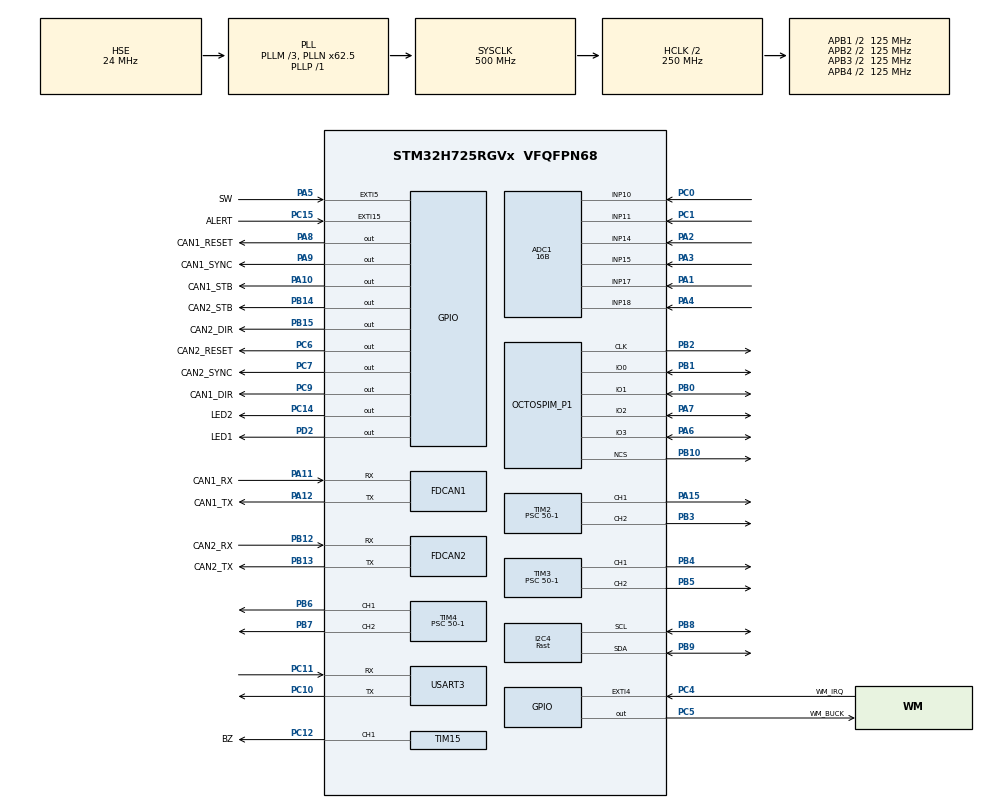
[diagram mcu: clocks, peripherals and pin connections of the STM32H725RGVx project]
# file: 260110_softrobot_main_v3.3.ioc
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ADC1.Channel-1\#ChannelRegularConversion=ADC_CHANNEL_10
ADC1.Channel-2\#ChannelRegularConversion=ADC_CHANNEL_11
ADC1.Channel-3\#ChannelRegularConversion=ADC_CHANNEL_17
ADC1.Channel-4\#ChannelRegularConversion=ADC_CHANNEL_14
ADC1.Channel-5\#ChannelRegularConversion=ADC_CHANNEL_15
ADC1.Channel-6\#ChannelRegularConversion=ADC_CHANNEL_18
ADC1.ClockPrescaler=ADC_CLOCK_ASYNC_DIV16
ADC1.ConversionDataManagement=ADC_CONVERSIONDATA_DMA_CIRCULAR
ADC1.EOCSelection=ADC_EOC_SEQ_CONV
ADC1.ExternalTrigConv=ADC_EXTERNALTRIG_T8_TRGO
ADC1.NbrOfConversion=6
ADC1.NbrOfConversionFlag=1
ADC1.OffsetNumber-1\#ChannelRegularConversion=ADC_OFFSET_NONE
ADC1.OffsetNumber-2\#ChannelRegularConversion=ADC_OFFSET_NONE
ADC1.OffsetNumber-3\#ChannelRegularConversion=ADC_OFFSET_NONE
ADC1.OffsetNumber-4\#ChannelRegularConversion=ADC_OFFSET_NONE
ADC1.OffsetNumber-5\#ChannelRegularConversion=ADC_OFFSET_NONE
ADC1.OffsetNumber-6\#ChannelRegularConversion=ADC_OFFSET_NONE
ADC1.OffsetSignedSaturation-1\#ChannelRegularConversion=DISABLE
ADC1.OffsetSignedSaturation-2\#ChannelRegularConversion=DISABLE
ADC1.OffsetSignedSaturation-3\#ChannelRegularConversion=DISABLE
ADC1.OffsetSignedSaturation-4\#ChannelRegularConversion=DISABLE
ADC1.OffsetSignedSaturation-5\#ChannelRegularConversion=DISABLE
ADC1.OffsetSignedSaturation-6\#ChannelRegularConversion=DISABLE
ADC1.OversamplingMode=ENABLE
ADC1.Rank-1\#ChannelRegularConversion=1
ADC1.Rank-2\#ChannelRegularConversion=2
ADC1.Rank-3\#ChannelRegularConversion=3
ADC1.Rank-4\#ChannelRegularConversion=4
ADC1.Rank-5\#ChannelRegularConversion=5
ADC1.Rank-6\#ChannelRegularConversion=6
ADC1.Ratio=16
ADC1.Resolution=ADC_RESOLUTION_16B
ADC1.RightBitShift=ADC_RIGHTBITSHIFT_4
ADC1.SamplingTime-1\#ChannelRegularConversion=ADC_SAMPLETIME_64CYCLES_5
ADC1.SamplingTime-2\#ChannelRegularConversion=ADC_SAMPLETIME_64CYCLES_5
ADC1.SamplingTime-3\#ChannelRegularConversion=ADC_SAMPLETIME_64CYCLES_5
ADC1.SamplingTime-4\#ChannelRegularConversion=ADC_SAMPLETIME_64CYCLES_5
ADC1.SamplingTime-5\#ChannelRegularConversion=ADC_SAMPLETIME_64CYCLES_5
ADC1.SamplingTime-6\#ChannelRegularConversion=ADC_SAMPLETIME_64CYCLES_5
ADC1.master=1
CORTEX_M7.default_mode_Activation=1
Dma.ADC1.0.Direction=DMA_PERIPH_TO_MEMORY
Dma.ADC1.0.EventEnable=DISABLE
Dma.ADC1.0.FIFOMode=DMA_FIFOMODE_DISABLE
Dma.ADC1.0.Instance=DMA1_Stream0
Dma.ADC1.0.MemDataAlignment=DMA_MDATAALIGN_HALFWORD
Dma.ADC1.0.MemInc=DMA_MINC_ENABLE
Dma.ADC1.0.Mode=DMA_CIRCULAR
Dma.ADC1.0.PeriphDataAlignment=DMA_PDATAALIGN_HALFWORD
Dma.ADC1.0.PeriphInc=DMA_PINC_DISABLE
Dma.ADC1.0.Polarity=HAL_DMAMUX_REQ_GEN_RISING
Dma.ADC1.0.Priority=DMA_PRIORITY_LOW
Dma.ADC1.0.RequestNumber=1
Dma.ADC1.0.SignalID=NONE
Dma.ADC1.0.SyncEnable=DISABLE
Dma.ADC1.0.SyncPolarity=HAL_DMAMUX_SYNC_NO_EVENT
Dma.ADC1.0.SyncRequestNumber=1
Dma.ADC1.0.SyncSignalID=NONE
Dma.Request0=ADC1
Dma.Request1=USART3_TX
Dma.USART3_TX.1.Direction=DMA_MEMORY_TO_PERIPH
Dma.USART3_TX.1.EventEnable=DISABLE
Dma.USART3_TX.1.FIFOMode=DMA_FIFOMODE_DISABLE
Dma.USART3_TX.1.Instance=DMA1_Stream3
Dma.USART3_TX.1.MemDataAlignment=DMA_MDATAALIGN_BYTE
Dma.USART3_TX.1.MemInc=DMA_MINC_ENABLE
Dma.USART3_TX.1.Mode=DMA_NORMAL
Dma.USART3_TX.1.PeriphDataAlignment=DMA_PDATAALIGN_BYTE
Dma.USART3_TX.1.PeriphInc=DMA_PINC_DISABLE
Dma.USART3_TX.1.Polarity=HAL_DMAMUX_REQ_GEN_RISING
Dma.USART3_TX.1.Priority=DMA_PRIORITY_MEDIUM
Dma.USART3_TX.1.RequestNumber=1
Dma.USART3_TX.1.SignalID=NONE
Dma.USART3_TX.1.SyncEnable=DISABLE
Dma.USART3_TX.1.SyncPolarity=HAL_DMAMUX_SYNC_NO_EVENT
Dma.USART3_TX.1.SyncRequestNumber=1
Dma.USART3_TX.1.SyncSignalID=NONE
FDCAN1.CalculateBaudRateNominal=1000000
FDCAN1.CalculateTimeBitNominal=1000
FDCAN1.CalculateTimeQuantumNominal=40.0
FDCAN1.DataPrescaler=5
FDCAN1.DataSyncJumpWidth=3
FDCAN1.DataTimeSeg1=21
FDCAN1.DataTimeSeg2=3
FDCAN1.FrameFormat=FDCAN_FRAME_FD_NO_BRS
FDCAN1.NominalPrescaler=5
FDCAN1.NominalSyncJumpWidth=3
FDCAN1.NominalTimeSeg1=21
FDCAN1.NominalTimeSeg2=3
FDCAN1.RxFifo0ElmtsNbr=16
FDCAN1.StdFiltersNbr=1
FDCAN1.TxBuffersNbr=0
FDCAN1.TxFifoQueueElmtsNbr=32
FDCAN2.CalculateBaudRateNominal=1000000
FDCAN2.CalculateTimeBitNominal=1000
FDCAN2.CalculateTimeQuantumNominal=40.0
FDCAN2.DataPrescaler=5
FDCAN2.DataSyncJumpWidth=3
FDCAN2.DataTimeSeg1=21
FDCAN2.DataTimeSeg2=3
FDCAN2.FrameFormat=FDCAN_FRAME_CLASSIC
FDCAN2.MessageRAMOffset=1024
FDCAN2.NominalPrescaler=5
FDCAN2.NominalSyncJumpWidth=3
FDCAN2.NominalTimeSeg1=21
FDCAN2.NominalTimeSeg2=3
FDCAN2.RxFifo0ElmtsNbr=16
FDCAN2.StdFiltersNbr=1
FDCAN2.TxFifoQueueElmtsNbr=32
FREERTOS.BinarySemaphores01=adcDataReadySem,Dynamic,NULL,Depleted;uartTxCompleteSem,Dynamic,NULL,Available
FREERTOS.Mutexes01=sensorDataMutex,Dynamic,NULL,Available;smaChannelMutex,Dynamic,NULL,Available;uartTxMutex,Dynamic,NULL,Available;i2cMutex,Dynamic,NULL,Available
FREERTOS.Queues01=uartRxQueue,512,1,1,Dynamic,NULL,NULL;cmdQueue,16,128,1,Dynamic,NULL,NULL
FREERTOS.Tasks01=CommandTask,24,512,StartCommandTask,As weak,NULL,Dynamic,NULL,NULL;ControlTask,48,1024,StartControlTask,As weak,NULL,Dynamic,NULL,NULL;TelemetryTask,27,512,StartTelemetryTask,As weak,NULL,Dynamic,NULL,NULL;NRF70_Task,25,256,NRF70_TestTask,Default,NULL,Dynamic,NULL,NULL;SensorPrcsTask,40,512,StartSensorProcessTask,As weak,NULL,Dynamic,NULL,NULL
FREERTOS.configCHECK_FOR_STACK_OVERFLOW=2
FREERTOS.configENABLE_FPU=1
FREERTOS.configMINIMAL_STACK_SIZE=256
FREERTOS.configRECORD_STACK_HIGH_ADDRESS=1
FREERTOS.configTOTAL_HEAP_SIZE=65536
FREERTOS.configUSE_MALLOC_FAILED_HOOK=0
FREERTOS.configUSE_NEWLIB_REENTRANT=1
I2C4.I2C_Speed_Mode=I2C_Fast
I2C4.Speed=100
I2C4.Timing=0x80100780
Mcu.Family=STM32H7
Mcu.Name=STM32H725RGVx
Mcu.Package=VFQFPN68
NVIC.DMA1_Stream0_IRQn=true\:6\:0\:true\:false\:true\:true\:false\:true\:true
NVIC.DMA1_Stream3_IRQn=true\:5\:0\:false\:false\:true\:false\:false\:true\:true
NVIC.EXTI4_IRQn=true\:5\:0\:false\:false\:true\:true\:true\:true\:true
NVIC.FDCAN1_IT0_IRQn=true\:6\:0\:true\:false\:true\:true\:true\:true\:true
NVIC.FDCAN2_IT0_IRQn=true\:6\:0\:true\:false\:true\:true\:true\:true\:true
NVIC.OCTOSPI1_IRQn=true\:5\:0\:false\:false\:true\:true\:true\:true\:true
NVIC.PriorityGroup=NVIC_PRIORITYGROUP_4
NVIC.TIM6_DAC_IRQn=true\:15\:0\:false\:false\:true\:false\:false\:true\:true
NVIC.TIM8_UP_TIM13_IRQn=true\:5\:0\:true\:false\:true\:true\:true\:true\:true
NVIC.TimeBase=TIM6_DAC_IRQn
NVIC.TimeBaseIP=TIM6
NVIC.USART3_IRQn=true\:7\:0\:true\:false\:true\:true\:true\:true\:true
PA1.Mode=IN17-Single-Ended
PA1.Signal=ADC1_INP17
PA10.GPIO_Label=CAN1_STB
PA10.PinState=GPIO_PIN_SET
PA10.Signal=GPIO_Output
PA11.GPIO_Label=CAN1_RX
PA11.Mode=FDCAN_Activate
PA11.Signal=FDCAN1_RX
PA12.GPIO_Label=CAN1_TX
PA12.Mode=FDCAN_Activate
PA12.Signal=FDCAN1_TX
PA13(JTMS/SWDIO).Mode=Serial_Wire
PA13(JTMS/SWDIO).Signal=DEBUG_JTMS-SWDIO
PA14(JTCK/SWCLK).Mode=Serial_Wire
PA14(JTCK/SWCLK).Signal=DEBUG_JTCK-SWCLK
PA15(JTDI).Signal=S_TIM2_CH1_ETR
PA2.Signal=ADCx_INP14
PA3.Signal=ADCx_INP15
PA4.Signal=ADCx_INP18
PA5.GPIO_Label=SW
PA5.Signal=GPXTI5
PA6.Mode=OCTOSPI1_IOL_Port1L
PA6.Signal=OCTOSPIM_P1_IO3
PA7.Mode=OCTOSPI1_IOL_Port1L
PA7.Signal=OCTOSPIM_P1_IO2
PA8.GPIO_Label=CAN1_RESET
PA8.PinState=GPIO_PIN_SET
PA8.Signal=GPIO_Output
PA9.GPIO_Label=CAN1_SYNC
PA9.PinState=GPIO_PIN_SET
PA9.Signal=GPIO_Output
PB0.Mode=OCTOSPI1_IOL_Port1L
PB0.Signal=OCTOSPIM_P1_IO1
PB1.Mode=OCTOSPI1_IOL_Port1L
PB1.Signal=OCTOSPIM_P1_IO0
PB10.Mode=OCTOSPI1_Port1_NCS
PB10.Signal=OCTOSPIM_P1_NCS
PB12.GPIO_Label=CAN2_RX
PB12.Mode=FDCAN_Activate
PB12.Signal=FDCAN2_RX
PB13.GPIO_Label=CAN2_TX
PB13.Mode=FDCAN_Activate
PB13.Signal=FDCAN2_TX
PB14.GPIO_Label=CAN2_STB
PB14.PinState=GPIO_PIN_SET
PB14.Signal=GPIO_Output
PB15.GPIO_Label=CAN2_DIR
PB15.PinState=GPIO_PIN_SET
PB15.Signal=GPIO_Output
PB2.Mode=O1_P1_CLK
PB2.Signal=OCTOSPIM_P1_CLK
PB3(JTDO/TRACESWO).Signal=S_TIM2_CH2
PB4(NJTRST).Signal=S_TIM3_CH1
PB5.Signal=S_TIM3_CH2
PB6.Signal=S_TIM4_CH1
PB7.Signal=S_TIM4_CH2
PB8.Mode=I2C
PB8.Signal=I2C4_SCL
PB9.Mode=I2C
PB9.Signal=I2C4_SDA
PC0.Signal=ADCx_INP10
PC1.Signal=ADCx_INP11
PC10.Mode=Asynchronous
PC10.Signal=USART3_TX
PC11.Mode=Asynchronous
PC11.Signal=USART3_RX
PC12.GPIO_Label=BZ
PC12.Signal=S_TIM15_CH1
PC14-OSC32_IN.GPIO_Label=LED2
PC14-OSC32_IN.PinState=GPIO_PIN_SET
PC14-OSC32_IN.Signal=GPIO_Output
PC15-OSC32_OUT.GPIO_Label=ALERT
PC15-OSC32_OUT.GPIO_ModeDefaultEXTI=GPIO_MODE_IT_FALLING
PC15-OSC32_OUT.Signal=GPXTI15
PC4.GPIO_Label=WM_IRQ
PC4.GPIO_ModeDefaultEXTI=GPIO_MODE_IT_RISING
PC4.Signal=GPXTI4
PC5.GPIO_Label=WM_BUCK
PC5.Signal=GPIO_Output
PC6.GPIO_Label=CAN2_RESET
PC6.PinState=GPIO_PIN_SET
PC6.Signal=GPIO_Output
PC7.GPIO_Label=CAN2_SYNC
PC7.PinState=GPIO_PIN_SET
PC7.Signal=GPIO_Output
PC9.GPIO_Label=CAN1_DIR
PC9.PinState=GPIO_PIN_SET
PC9.Signal=GPIO_Output
PD2.GPIO_Label=LED1
PD2.PinState=GPIO_PIN_SET
PD2.Signal=GPIO_Output
PH0-OSC_IN.Mode=HSE-External-Oscillator
PH0-OSC_IN.Signal=RCC_OSC_IN
PH1-OSC_OUT.Mode=HSE-External-Oscillator
PH1-OSC_OUT.Signal=RCC_OSC_OUT
ProjectManager.HeapSize=0x200
ProjectManager.StackSize=0x400
ProjectManager.TargetToolchain=STM32CubeIDE
RCC.ADCFreq_Value=96000000
RCC.APB1Freq_Value=125000000
RCC.APB2Freq_Value=125000000
RCC.APB3Freq_Value=125000000
RCC.APB4Freq_Value=125000000
RCC.CortexFreq_Value=500000000
RCC.D1PPRE=RCC_APB3_DIV2
RCC.D2PPRE1=RCC_APB1_DIV2
RCC.D2PPRE2=RCC_APB2_DIV2
RCC.D3PPRE=RCC_APB4_DIV2
RCC.DIVM1=3
RCC.DIVM2=2
RCC.DIVN1=62
RCC.DIVN2=16
RCC.DIVP1=1
RCC.DIVQ1=4
RCC.HCLKFreq_Value=250000000
RCC.HPRE=RCC_HCLK_DIV2
RCC.HSE_VALUE=24000000
RCC.PLL1_VCI_Range-AdvancedSettings=RCC_PLL1VCIRANGE_3
RCC.PLL1_VCO_SEL-AdvancedSettings=RCC_PLL1VCOWIDE
RCC.PLL2FRACN=0
RCC.PLL3FRACN=0
RCC.PLLFRACN=4096
RCC.PLLSourceVirtual=RCC_PLLSOURCE_HSE
RCC.SYSCLKFreq_VALUE=500000000
RCC.SYSCLKSource=RCC_SYSCLKSOURCE_PLLCLK
RCC.USBFreq_Value=125000000
SH.ADCx_INP10.0=ADC1_INP10,IN10-Single-Ended
SH.ADCx_INP11.0=ADC1_INP11,IN11-Single-Ended
SH.ADCx_INP14.0=ADC1_INP14,IN14-Single-Ended
SH.ADCx_INP15.0=ADC1_INP15,IN15-Single-Ended
SH.ADCx_INP18.0=ADC1_INP18,IN18-Single-Ended
SH.S_TIM15_CH1.0=TIM15_CH1,PWM Generation1 CH1
SH.S_TIM2_CH1_ETR.0=TIM2_CH1,PWM Generation1 CH1
SH.S_TIM2_CH2.0=TIM2_CH2,PWM Generation2 CH2
SH.S_TIM3_CH1.0=TIM3_CH1,PWM Generation1 CH1
SH.S_TIM3_CH2.0=TIM3_CH2,PWM Generation2 CH2
SH.S_TIM4_CH1.0=TIM4_CH1,PWM Generation1 CH1
SH.S_TIM4_CH2.0=TIM4_CH2,PWM Generation2 CH2
TIM15.Channel-PWM\ Generation1\ CH1=TIM_CHANNEL_1
TIM15.Period=1000-1
TIM15.Prescaler=500-1
TIM2.Channel-PWM\ Generation1\ CH1=TIM_CHANNEL_1
TIM2.Channel-PWM\ Generation2\ CH2=TIM_CHANNEL_2
TIM2.Period=100-1
TIM2.Prescaler=50-1
TIM3.Channel-PWM\ Generation1\ CH1=TIM_CHANNEL_1
TIM3.Channel-PWM\ Generation2\ CH2=TIM_CHANNEL_2
TIM3.Period=100-1
TIM3.Prescaler=50-1
TIM4.Channel-PWM\ Generation1\ CH1=TIM_CHANNEL_1
TIM4.Channel-PWM\ Generation2\ CH2=TIM_CHANNEL_2
TIM4.Period=100-1
TIM4.Prescaler=50-1
TIM5.Period=4000-1
TIM5.Prescaler=500-1
TIM8.AutoReloadPreload=TIM_AUTORELOAD_PRELOAD_ENABLE
TIM8.Period=10000-1
TIM8.Prescaler=250-1
TIM8.TIM_MasterOutputTrigger=TIM_TRGO_UPDATE
USART3.VirtualMode-Asynchronous=VM_ASYNC
VP_FREERTOS_VS_CMSIS_V2.Mode=CMSIS_V2
VP_MEMORYMAP_VS_MEMORYMAP.Mode=CurAppReg
VP_OCTOSPI1_VS_quad.Mode=quad_mode
VP_SYS_VS_tim6.Mode=TIM6
VP_TIM15_VS_ClockSourceINT.Mode=Internal
VP_TIM2_VS_ClockSourceINT.Mode=Internal
VP_TIM3_VS_ClockSourceINT.Mode=Internal
VP_TIM4_VS_ClockSourceINT.Mode=Internal
VP_TIM5_VS_ClockSourceINT.Mode=Internal
VP_TIM8_VS_ClockSourceINT.Mode=Internal
board=custom

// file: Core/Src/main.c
/* USER CODE BEGIN Header */
/**
  ******************************************************************************
  * @file           : main.c
  * @brief          : Main program body
  ******************************************************************************
  * @attention
  *
  * Copyright (c) 2025 STMicroelectronics.
  * All rights reserved.
  *
  * This software is licensed under terms that can be found in the LICENSE file
  * in the root directory of this software component.
  * If no LICENSE file comes with this software, it is provided AS-IS.
  *
  ******************************************************************************
  */
/* USER CODE END Header */
#include "main.h"
#include "cmsis_os.h"
#include "adc.h"
#include "dma.h"
#include "fdcan.h"
#include "i2c.h"
#include "octospi.h"
#include "tim.h"
#include "usart.h"
#include "gpio.h"

/* USER CODE BEGIN Includes */
#include <stdio.h>
#include <string.h>

#include "common_defs.h"
#include "debug.h"
#include "fdcan.h"
#include "emc2303.h"
#include "sensors.h"
#include "sma_actuator.h"
#include "comm_protocol.h"
#include "nrf7002_test.h"

/* USER CODE END Includes */

/* USER CODE BEGIN PV */
extern char log_msg[MAX_LOG_MSG_LEN];
System_typedef system;
__attribute__((section(".RAM_D2"))) __attribute__((aligned(4)))
volatile uint16_t buf_adc1[CTRL_CH] = {0};

// UART 수신 버퍼 (단일 바이트 수신용)
static uint8_t uart_rx_byte;

/* USER CODE END PV */

void SystemClock_Config(void);
static void MPU_Config(void);
void MX_FREERTOS_Init(void);
/* USER CODE BEGIN PFP */
extern void RTOS_UART_RxCallback(uint8_t byte);
extern void RTOS_ADC_ConvCpltCallback(void);
extern void RTOS_FDCAN_RxCallback(FDCAN_RxHeaderTypeDef *rx_header, uint8_t *rx_data);
/* USER CODE END PFP */

/* USER CODE BEGIN 0 */
void HAL_FDCAN_RxFifo0Callback(FDCAN_HandleTypeDef *hfdcan, uint32_t RxFifo0ITs)
{
	if((RxFifo0ITs & FDCAN_IT_RX_FIFO0_NEW_MESSAGE) == RESET)
    {
        return;
    }

    /* FIFO의 모든 메시지 처리 (오버런 방지) */
	FDCAN_RxHeaderTypeDef rx_header;
	uint8_t rx_data[8];
	uint8_t msg_count = 0;
	const uint8_t MAX_MSGS_PER_ISR = 8;  // ISR당 최대 처리 개수

    while (msg_count < MAX_MSGS_PER_ISR)
    {
        // FIFO에서 메시지 가져오기
        if (HAL_FDCAN_GetRxMessage(hfdcan, FDCAN_RX_FIFO0, &rx_header, rx_data) != HAL_OK)
        {
            break;  // FIFO 비었거나 에러 → 루프 탈출
        }

        // 센서 데이터 업데이트
        RTOS_FDCAN_RxCallback(&rx_header, rx_data);
        msg_count++;
    }

    // 처리된 메시지가 있으면 LED 토글 (디버그용)
    if (msg_count > 0) {
        LED2_toggle;
    }
}

void HAL_ADC_ConvCpltCallback(ADC_HandleTypeDef *hadc)
{
    if (hadc->Instance == ADC1)
	{
		//LED1_toggle;
		//Sensor_UpdateADC(buf_adc1);
		RTOS_ADC_ConvCpltCallback();
    }
}

void HAL_UART_RxCpltCallback(UART_HandleTypeDef *huart)
{
    if (huart->Instance == USART3) {

    	RTOS_UART_RxCallback(uart_rx_byte);
        // DEBUG: Toggle LED2 to show RX interrupt is firing
        //LED2_toggle;

        // 수신된 바이트를 통신 프로토콜로 전달
        //Comm_RxByteCallback(uart_rx_byte);

        // 다음 바이트 수신 준비 - CRITICAL for continuous reception
        HAL_StatusTypeDef status = HAL_UART_Receive_IT(&huart3, &uart_rx_byte, 1);
        if (status != HAL_OK) {
            // If re-arming fails, force UART state reset and retry
            huart3.RxState = HAL_UART_STATE_READY;
            HAL_UART_Receive_IT(&huart3, &uart_rx_byte, 1);
        }
    }
}

/**
 * @brief UART DMA 전송 완료 콜백
 * @note DMA 전송 완료 시 자동 호출
 */
void HAL_UART_TxCpltCallback(UART_HandleTypeDef *huart)
{
    if (huart->Instance == USART3) {
        // 통신 프로토콜에 전송 완료 알림
        Comm_UART_TxCpltCallback();
    }
}

/* USER CODE END 0 */

int main(void)
{

  /* MPU Configuration--------------------------------------------------------*/
  MPU_Config();

  /* MCU Configuration--------------------------------------------------------*/

  /* Reset of all peripherals, Initializes the Flash interface and the Systick. */
  HAL_Init();

  /* Configure the system clock */
  SystemClock_Config();

  /* Initialize all configured peripherals */
  MX_GPIO_Init();
  MX_DMA_Init();
  MX_ADC1_Init();
  MX_FDCAN1_Init();
  MX_FDCAN2_Init();
  MX_I2C4_Init();
  MX_TIM2_Init();
  MX_TIM3_Init();
  MX_TIM4_Init();
  MX_TIM15_Init();
  MX_USART3_UART_Init();
  MX_TIM5_Init();
  MX_TIM8_Init();
  MX_OCTOSPI1_Init();
  /* USER CODE BEGIN 2 */

  // nRF7002 (WM02C) 통신 테스트
  printf("\r\n\r\n*** Starting nRF7002 Communication Test ***\r\n");

  // 테스트 드라이버 초기화
  if (NRF70_Test_Init(&hospi1) != HAL_OK) {
      printf("ERROR: NRF70_Test_Init failed!\r\n");
  } else {
      // 풀 테스트 실행
      NRF70_TestResult_t test_result;
      bool all_passed = NRF70_RunFullTest(&test_result);

      // 결과 출력
      NRF70_PrintTestResult(&test_result);

      if (all_passed) {
          printf("\r\n*** nRF7002 Ready for Wi-Fi Driver Porting! ***\r\n");
      } else {
          printf("\r\n*** Check hardware connections ***\r\n");
      }
  }

  printf("\r\n");

  setbuf(stdin, NULL);
  RegisterErrorCallback(MyErrorCallback);
//RegisterErrorCallback(MyErrorCallback_Msg);
//RegisterErrorCallback(MyErrorCallback_Code_Msg);
  LogFifo_Init();
  DWT_Init();

  Sensor_Init();

  GPIO_WRITE_0(CAN2_STB_GPIO_Port, CAN2_STB_Pin);
  FDCAN_Init();
  HAL_Delay(200);

  HAL_ADCEx_LinearCalibration_FactorLoad(&hadc1);
  HAL_ADCEx_Calibration_Start(&hadc1, ADC_CALIB_OFFSET, ADC_SINGLE_ENDED);
  HAL_Delay(10);
  HAL_ADC_Start_DMA(&hadc1, (uint32_t *)buf_adc1, 6);

  uint32_t target_hz = 100u;
  emc_profile_t profile = EMC_PROFILE_POWER_GATING;
//emc_profile_t profile = EMC_PROFILE_4WIRE_FAN;
  Fans6_Init(profile, target_hz);
//Fan6_SetDuty(1u, 10.0f);

//HAL_TIM_Base_Start(&htim8);
  HAL_TIM_Base_Start_IT(&htim8);

  // SMA 액추에이터 컨트롤러 초기화 (제어 주기: 10ms)
  SMA_Init(10);

  // USART 통신 프로토콜 초기화
  Comm_Init(&huart3);

  // UART 수신 인터럽트 시작 (명령 수신용)
  HAL_UART_Receive_IT(&huart3, &uart_rx_byte, 1);

  system.state_level = SYSTEM_GO;
  LED1_on;

  // Send startup message via UART (proves TX works)
  const char *startup_msg = "\r\n=== SYSTEM READY - Commands enabled ===\r\n";
  HAL_UART_Transmit(&huart3, (uint8_t*)startup_msg, strlen(startup_msg), 100);

  //printf("System initialized\r\n");
  //printf("Ready to receive commands via USART3\r\n");

#if CH0_ENABLE
  SMA_SetMode(CH_FOREARM_L, SMA_MODE_FORCE_CONTROL);
  SMA_SetTargetForce(CH_FOREARM_L, 50.0f);
  SMA_SetPIDGains(CH_FOREARM_L, 3.0f, 0.05f, 0.3f);
#endif

#if CH1_ENABLE
  SMA_SetMode(CH_FOREARM_R, SMA_MODE_FORCE_CONTROL);
  SMA_SetTargetForce(CH_FOREARM_R, 50.0f);
  SMA_SetPIDGains(CH_FOREARM_R, 3.0f, 0.05f, 0.3f);
#endif

#if CH2_ENABLE
  SMA_SetMode(CH_BICEPS_L, SMA_MODE_FORCE_CONTROL);
  SMA_SetTargetForce(CH_BICEPS_L, 50.0f);
  SMA_SetPIDGains(CH_BICEPS_L, 3.0f, 0.05f, 0.3f);
#endif

// #if CH3_ENABLE
//   SMA_SetMode(CH_BICEPS_R , SMA_MODE_FORCE_CONTROL);
//   SMA_SetTargetForce(CH_BICEPS_R , 50.0f);
//   SMA_SetPIDGains(CH_BICEPS_R , 3.0f, 0.05f, 0.3f);
// #endif

#if CH3_ENABLE
  SMA_SetMode(CH_BICEPS_R, SMA_MODE_TEMP_CONTROL);
  SMA_SetTargetTemp(CH_BICEPS_R, 20.0f);  // 초기 목표 온도 20°C
  SMA_SetPIDGains(CH_BICEPS_R, 2.5f, 0.3f, 0.05f);
#endif

  // 활성화된 채널 초기 설정 (CH4, CH5 - 허리 L/R)
#if CH4_ENABLE
  SMA_SetMode(CH_WAIST_L, SMA_MODE_TEMP_CONTROL);
  SMA_SetTargetTemp(CH_WAIST_L, 20.0f);  // 초기 목표 온도 20°C
  SMA_SetPIDGains(CH_WAIST_L, 2.5f, 0.2f, 0.05f);
#endif

#if CH5_ENABLE
  SMA_SetMode(CH_WAIST_R, SMA_MODE_TEMP_CONTROL);
  SMA_SetTargetTemp(CH_WAIST_R, 20.0f);  // 초기 목표 온도 20°C
  SMA_SetPIDGains(CH_WAIST_R, 2.5f, 0.3f, 0.05f);
#endif

  // SMA 액추에이터 사용 예제
  // 예제 1: 오픈루프 제어 (채널 0을 50% PWM으로 설정)
  // SMA_SetMode(0, SMA_MODE_OPEN_LOOP);
  // SMA_SetPWM(0, 50.0f);

  // 예제 2: 온도 제어 (채널 1을 60°C로 제어)
  // SMA_SetMode(1, SMA_MODE_TEMP_CONTROL);
  // SMA_SetTargetTemp(1, 60.0f);
  // SMA_SetPIDGains(1, 5.0f, 0.1f, 0.5f);

  // 예제 3: 힘 제어 (채널 2를 50N 목표로 제어)
  // SMA_SetMode(2, SMA_MODE_FORCE_CONTROL);
  // SMA_SetTargetForce(2, 50.0f);
  // SMA_SetPIDGains(2, 3.0f, 0.05f, 0.3f);

  /* USER CODE END 2 */

  /* Init scheduler */
  osKernelInitialize();  /* Call init function for freertos objects (in cmsis_os2.c) */
  MX_FREERTOS_Init();

  /* Start scheduler */
  osKernelStart();

  /* We should never get here as control is now taken by the scheduler */

  /* Infinite loop */
  while (1)
  {

    /* USER CODE BEGIN 3 */
	// USART 명령 처리  → CommandTask로 이동됨
	//Comm_ProcessCommands();

	/* COMMENT OUT ALL ASCII DEBUG OUTPUT TO GET CLEAN BINARY TELEMETRY */

  }
  /* USER CODE END 3 */
}

void SystemClock_Config(void)
{
  RCC_OscInitTypeDef RCC_OscInitStruct = {0};
  RCC_ClkInitTypeDef RCC_ClkInitStruct = {0};

  /** Supply configuration update enable
  */
  HAL_PWREx_ConfigSupply(PWR_DIRECT_SMPS_SUPPLY);

  /** Configure the main internal regulator output voltage
  */
  __HAL_PWR_VOLTAGESCALING_CONFIG(PWR_REGULATOR_VOLTAGE_SCALE0);

  while(!__HAL_PWR_GET_FLAG(PWR_FLAG_VOSRDY)) {}

  /** Initializes the RCC Oscillators according to the specified parameters
  * in the RCC_OscInitTypeDef structure.
  */
  RCC_OscInitStruct.OscillatorType = RCC_OSCILLATORTYPE_HSE;
  RCC_OscInitStruct.HSEState = RCC_HSE_ON;
  RCC_OscInitStruct.PLL.PLLState = RCC_PLL_ON;
  RCC_OscInitStruct.PLL.PLLSource = RCC_PLLSOURCE_HSE;
  RCC_OscInitStruct.PLL.PLLM = 3;
  RCC_OscInitStruct.PLL.PLLN = 62;
  RCC_OscInitStruct.PLL.PLLP = 1;
  RCC_OscInitStruct.PLL.PLLQ = 4;
  RCC_OscInitStruct.PLL.PLLR = 2;
  RCC_OscInitStruct.PLL.PLLRGE = RCC_PLL1VCIRANGE_3;
  RCC_OscInitStruct.PLL.PLLVCOSEL = RCC_PLL1VCOWIDE;
  RCC_OscInitStruct.PLL.PLLFRACN = 4096;
  if (HAL_RCC_OscConfig(&RCC_OscInitStruct) != HAL_OK)
  {
    Error_Handler();
  }

  /** Initializes the CPU, AHB and APB buses clocks
  */
  RCC_ClkInitStruct.ClockType = RCC_CLOCKTYPE_HCLK|RCC_CLOCKTYPE_SYSCLK
                              |RCC_CLOCKTYPE_PCLK1|RCC_CLOCKTYPE_PCLK2
                              |RCC_CLOCKTYPE_D3PCLK1|RCC_CLOCKTYPE_D1PCLK1;
  RCC_ClkInitStruct.SYSCLKSource = RCC_SYSCLKSOURCE_PLLCLK;
  RCC_ClkInitStruct.SYSCLKDivider = RCC_SYSCLK_DIV1;
  RCC_ClkInitStruct.AHBCLKDivider = RCC_HCLK_DIV2;
  RCC_ClkInitStruct.APB3CLKDivider = RCC_APB3_DIV2;
  RCC_ClkInitStruct.APB1CLKDivider = RCC_APB1_DIV2;
  RCC_ClkInitStruct.APB2CLKDivider = RCC_APB2_DIV2;
  RCC_ClkInitStruct.APB4CLKDivider = RCC_APB4_DIV2;

  if (HAL_RCC_ClockConfig(&RCC_ClkInitStruct, FLASH_LATENCY_3) != HAL_OK)
  {
    Error_Handler();
  }
}

 /* MPU Configuration */

void MPU_Config(void)
{
  MPU_Region_InitTypeDef MPU_InitStruct = {0};

  /* Disables the MPU */
  HAL_MPU_Disable();

  /** Initializes and configures the Region and the memory to be protected
  */
  MPU_InitStruct.Enable = MPU_REGION_ENABLE;
  MPU_InitStruct.Number = MPU_REGION_NUMBER0;
  MPU_InitStruct.BaseAddress = 0x0;
  MPU_InitStruct.Size = MPU_REGION_SIZE_4GB;
  MPU_InitStruct.SubRegionDisable = 0x87;
  MPU_InitStruct.TypeExtField = MPU_TEX_LEVEL0;
  MPU_InitStruct.AccessPermission = MPU_REGION_NO_ACCESS;
  MPU_InitStruct.DisableExec = MPU_INSTRUCTION_ACCESS_DISABLE;
  MPU_InitStruct.IsShareable = MPU_ACCESS_SHAREABLE;
  MPU_InitStruct.IsCacheable = MPU_ACCESS_NOT_CACHEABLE;
  MPU_InitStruct.IsBufferable = MPU_ACCESS_NOT_BUFFERABLE;

  HAL_MPU_ConfigRegion(&MPU_InitStruct);
  /* Enables the MPU */
  HAL_MPU_Enable(MPU_PRIVILEGED_DEFAULT);

}

void HAL_TIM_PeriodElapsedCallback(TIM_HandleTypeDef *htim)
{
  /* USER CODE BEGIN Callback 0 */
    if (htim->Instance != htim8.Instance) {
//        return;
    }
//
//    // SMA 액추에이터 제어 업데이트 (10ms 주기)
//    SMA_Update();
//
//    // 텔레메트리 전송 (80Hz = 4회마다 5번 전송)
//    // Pattern: send at 0,1,2,3 -> skip 4 -> repeat
//    // This gives 4 sends per 5 cycles = 80Hz exactly
//    static uint8_t telem_counter = 0;
//    if (telem_counter < 4) {  // Send first 4 out of every 5 cycles
//        Comm_SendTelemetry();
//    }
//    telem_counter++;
//    if (telem_counter >= 5) {
//        telem_counter = 0;
//    }

  /* USER CODE END Callback 0 */
  if (htim->Instance == TIM6)
  {
    HAL_IncTick();
  }
}

void Error_Handler(void)
{
  __disable_irq();
  while (1)
  {
  }
}

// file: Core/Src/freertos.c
/* USER CODE BEGIN Header */
/**
  ******************************************************************************
  * File Name          : freertos.c
  * Description        : Code for freertos applications
  ******************************************************************************
  * @attention
  *
  * Copyright (c) 2026 STMicroelectronics.
  * All rights reserved.
  *
  * This software is licensed under terms that can be found in the LICENSE file
  * in the root directory of this software component.
  * If no LICENSE file comes with this software, it is provided AS-IS.
  *
  ******************************************************************************
  */
/* USER CODE END Header */

#include "FreeRTOS.h"
#include "task.h"
#include "main.h"
#include "cmsis_os.h"

/* USER CODE BEGIN Includes */
#include <string.h>
#include <stdio.h>
#include "sma_actuator.h"
#include "sensors.h"
#include "comm_protocol.h"
#include "emc2303.h"
#include "debug.h"
#include "common_defs.h"

#include "nrf7002_test.h"
/* USER CODE END Includes */

/* USER CODE BEGIN PD */
#define CONTROL_TASK_PERIOD_MS      10      // 100Hz 제어 루프
#define TELEMETRY_TASK_PERIOD_MS    20      // 50Hz 텔레메트리 (타이밍 충돌 해결)
#define CMD_BUFFER_SIZE             128     // 명령 버퍼 크기
/* USER CODE END PD */

/* USER CODE BEGIN Variables */
#define NOTIFY_CONTROL_TICK     (1UL << 0)
#define NOTIFY_ADC_COMPLETE     (1UL << 1)
#define NOTIFY_CAN_RX           (1UL << 2)

// UART 수신 버퍼 (명령 파싱용)
static char cmd_rx_buffer[CMD_BUFFER_SIZE];
static uint16_t cmd_rx_index = 0;

/* SensorProcessTask는 CubeMX에서 생성됨 */
/* USER CODE END Variables */
/* Definitions for CommandTask */
osThreadId_t CommandTaskHandle;
const osThreadAttr_t CommandTask_attributes = {
  .name = "CommandTask",
  .stack_size = 512 * 4,
  .priority = (osPriority_t) osPriorityNormal,
};
/* Definitions for ControlTask */
osThreadId_t ControlTaskHandle;
const osThreadAttr_t ControlTask_attributes = {
  .name = "ControlTask",
  .stack_size = 1024 * 4,
  .priority = (osPriority_t) osPriorityRealtime,
};
/* Definitions for TelemetryTask */
osThreadId_t TelemetryTaskHandle;
const osThreadAttr_t TelemetryTask_attributes = {
  .name = "TelemetryTask",
  .stack_size = 512 * 4,
  .priority = (osPriority_t) osPriorityNormal3,
};
/* Definitions for NRF70_Task */
osThreadId_t NRF70_TaskHandle;
const osThreadAttr_t NRF70_Task_attributes = {
  .name = "NRF70_Task",
  .stack_size = 256 * 4,
  .priority = (osPriority_t) osPriorityNormal1,
};
/* Definitions for SensorPrcsTask */
osThreadId_t SensorPrcsTaskHandle;
const osThreadAttr_t SensorPrcsTask_attributes = {
  .name = "SensorPrcsTask",
  .stack_size = 512 * 4,
  .priority = (osPriority_t) osPriorityHigh,
};
/* Definitions for uartRxQueue */
osMessageQueueId_t uartRxQueueHandle;
const osMessageQueueAttr_t uartRxQueue_attributes = {
  .name = "uartRxQueue"
};
/* Definitions for cmdQueue */
osMessageQueueId_t cmdQueueHandle;
const osMessageQueueAttr_t cmdQueue_attributes = {
  .name = "cmdQueue"
};
/* Definitions for sensorDataMutex */
osMutexId_t sensorDataMutexHandle;
const osMutexAttr_t sensorDataMutex_attributes = {
  .name = "sensorDataMutex"
};
/* Definitions for smaChannelMutex */
osMutexId_t smaChannelMutexHandle;
const osMutexAttr_t smaChannelMutex_attributes = {
  .name = "smaChannelMutex"
};
/* Definitions for uartTxMutex */
osMutexId_t uartTxMutexHandle;
const osMutexAttr_t uartTxMutex_attributes = {
  .name = "uartTxMutex"
};
/* Definitions for i2cMutex */
osMutexId_t i2cMutexHandle;
const osMutexAttr_t i2cMutex_attributes = {
  .name = "i2cMutex"
};
/* Definitions for adcDataReadySem */
osSemaphoreId_t adcDataReadySemHandle;
const osSemaphoreAttr_t adcDataReadySem_attributes = {
  .name = "adcDataReadySem"
};
/* Definitions for uartTxCompleteSem */
osSemaphoreId_t uartTxCompleteSemHandle;
const osSemaphoreAttr_t uartTxCompleteSem_attributes = {
  .name = "uartTxCompleteSem"
};

/* USER CODE BEGIN FunctionPrototypes */
static void ProcessReceivedByte(uint8_t byte);
/* USER CODE END FunctionPrototypes */

void StartCommandTask(void *argument);
void StartControlTask(void *argument);
void StartTelemetryTask(void *argument);
void NRF70_TestTask(void *argument);
void StartSensorProcessTask(void *argument);

void MX_FREERTOS_Init(void); /* (MISRA C 2004 rule 8.1) */

/* Hook prototypes */
void vApplicationStackOverflowHook(xTaskHandle xTask, signed char *pcTaskName);

/* USER CODE BEGIN 4 */
void vApplicationStackOverflowHook(xTaskHandle xTask, signed char *pcTaskName)
{
   /* Run time stack overflow checking is performed if
   configCHECK_FOR_STACK_OVERFLOW is defined to 1 or 2. This hook function is
   called if a stack overflow is detected. */

    // 스택 오버플로우 발생 시 LED 점멸 또는 로그 출력
    // 주의: 이 함수에서는 블로킹 함수 사용 불가
    __disable_irq();
    while(1) {
        // LED 토글로 오류 표시 (디버깅용)
        HAL_GPIO_TogglePin(LED1_GPIO_Port, LED1_Pin);
        for(volatile uint32_t i = 0; i < 1000000; i++);
    }
}
/* USER CODE END 4 */

void MX_FREERTOS_Init(void) {
  /* Create the mutex(es) */
  /* creation of sensorDataMutex */
  sensorDataMutexHandle = osMutexNew(&sensorDataMutex_attributes);

  /* creation of smaChannelMutex */
  smaChannelMutexHandle = osMutexNew(&smaChannelMutex_attributes);

  /* creation of uartTxMutex */
  uartTxMutexHandle = osMutexNew(&uartTxMutex_attributes);

  /* creation of i2cMutex */
  i2cMutexHandle = osMutexNew(&i2cMutex_attributes);

  /* Create the semaphores(s) */
  /* creation of adcDataReadySem */
  adcDataReadySemHandle = osSemaphoreNew(1, 0, &adcDataReadySem_attributes);

  /* creation of uartTxCompleteSem */
  uartTxCompleteSemHandle = osSemaphoreNew(1, 1, &uartTxCompleteSem_attributes);

  /* USER CODE BEGIN RTOS_SEMAPHORES */
  /* 세마포어는 CubeMX에서 생성됨 (adcDataReadySemHandle, uartTxCompleteSemHandle) */
  /* USER CODE END RTOS_SEMAPHORES */

  /* Create the queue(s) */
  /* creation of uartRxQueue */
  uartRxQueueHandle = osMessageQueueNew (512, 1, &uartRxQueue_attributes);

  /* creation of cmdQueue */
  cmdQueueHandle = osMessageQueueNew (16, 128, &cmdQueue_attributes);

  /* Create the thread(s) */
  /* creation of CommandTask */
  CommandTaskHandle = osThreadNew(StartCommandTask, NULL, &CommandTask_attributes);

  /* creation of ControlTask */
  ControlTaskHandle = osThreadNew(StartControlTask, NULL, &ControlTask_attributes);

  /* creation of TelemetryTask */
  TelemetryTaskHandle = osThreadNew(StartTelemetryTask, NULL, &TelemetryTask_attributes);

  /* creation of NRF70_Task */
  NRF70_TaskHandle = osThreadNew(NRF70_TestTask, NULL, &NRF70_Task_attributes);

  /* creation of SensorPrcsTask */
  SensorPrcsTaskHandle = osThreadNew(StartSensorProcessTask, NULL, &SensorPrcsTask_attributes);

  /* USER CODE BEGIN RTOS_THREADS */
  /* SensorProcessTask는 CubeMX에서 생성됨 */
  /* USER CODE END RTOS_THREADS */

}

__weak void StartCommandTask(void *argument)
{
  /* USER CODE BEGIN StartCommandTask */
    uint8_t rx_byte;
    char cmd_string[CMD_BUFFER_SIZE];

  /* Infinite loop */
    for(;;)
    {
        // uartRxQueue에서 바이트 수신 대기 (블로킹)
        if (osMessageQueueGet(uartRxQueueHandle, &rx_byte, NULL, osWaitForever) == osOK)
        {
            // LED 토글 (디버그용 - 수신 확인)
            LED2_toggle;

            // 수신된 바이트 처리
            ProcessReceivedByte(rx_byte);
        }

        // cmdQueue에서 완성된 명령 확인 (논블로킹)
        if (osMessageQueueGet(cmdQueueHandle, cmd_string, NULL, 0) == osOK)
        {
            // 명령 파싱 및 실행
            ParsedCommand_t parsed_cmd;

            if (Comm_ParseCommand(cmd_string, &parsed_cmd) == 0)
            {
                // [수정] Comm_ExecuteCommand 내부에서 mutex 획득하므로
                // 여기서는 mutex 획득하지 않음
                if (Comm_ExecuteCommand(&parsed_cmd) == 0) {
                    Comm_SendResponse("OK\r\n");
                } else {
                    Comm_SendResponse("ERROR: Execution failed\r\n");
                }
            }
            else
            {
                Comm_SendResponse("ERROR: Invalid command\r\n");
            }
        }
    }
  /* USER CODE END StartCommandTask */
}

/* USER CODE BEGIN Header_StartControlTask */
/**
* @brief Function implementing the ControlTask thread.
* @param argument: Not used
* @note [수정됨] 제어 로직이 여기에 있어야 함 (PRD 기준)
*/
/* USER CODE END Header_StartControlTask */
__weak void StartControlTask(void *argument)
{
  /* USER CODE BEGIN StartControlTask */
    TickType_t xLastWakeTime;
    const TickType_t xPeriod = pdMS_TO_TICKS(CONTROL_TASK_PERIOD_MS);  // 10ms

    // 현재 틱 저장 (주기적 실행 기준점)
    xLastWakeTime = xTaskGetTickCount();

    /* Infinite loop */
    for(;;)
    {
        // 정확한 10ms 주기로 실행 (vTaskDelayUntil 사용)
        vTaskDelayUntil(&xLastWakeTime, xPeriod);

        // LED1 토글 (제어 루프 동작 확인용)
        LED1_toggle;

        // 센서 데이터 mutex 획득 후 온도 읽기
        if (osMutexAcquire(sensorDataMutexHandle, 5) == osOK)
        {
            // 센서 데이터는 ISR에서 이미 업데이트됨
            // 여기서는 읽기만 수행
            osMutexRelease(sensorDataMutexHandle);
        }

        // SMA 제어 mutex 획득 후 제어 업데이트
        if (osMutexAcquire(smaChannelMutexHandle, 5) == osOK)
        {
            // SMA 액추에이터 제어 업데이트 (PID + PWM)
            SMA_Update();

            osMutexRelease(smaChannelMutexHandle);
        }

        static uint8_t fan_update_counter = 0;
        // I2C mutex 획득 후 팬 제어 (100ms마다 = 10회 중 1회)
        fan_update_counter++;
        if (fan_update_counter >= 10)
        {
            fan_update_counter = 0;

			// I2C mutex 획득 후 팬 제어
			if (osMutexAcquire(i2cMutexHandle, 5) == osOK)
			{
				// 팬 자동 제어 업데이트
				SMA_UpdateFans();

				osMutexRelease(i2cMutexHandle);
			}
        }
    }
  /* USER CODE END StartControlTask */
}

/* USER CODE BEGIN Header_StartTelemetryTask */
/**
* @brief Function implementing the TelemetryTask thread.
* @param argument: Not used
* @note [수정됨] 텔레메트리 전송만 담당 (PRD 기준)
*/
/* USER CODE END Header_StartTelemetryTask */
__weak void StartTelemetryTask(void *argument)
{
  /* USER CODE BEGIN StartTelemetryTask */
    TickType_t xLastWakeTime;
    // [수정] 올바른 주기 상수 사용
    const TickType_t xPeriod = pdMS_TO_TICKS(TELEMETRY_TASK_PERIOD_MS);  // 12ms (~80Hz)

    // 현재 틱 저장 (주기적 실행 기준점)
    xLastWakeTime = xTaskGetTickCount();

    for(;;)
    {
        // 정확한 12ms 주기로 실행
        vTaskDelayUntil(&xLastWakeTime, xPeriod);

        // [수정] 텔레메트리 전송 추가
        // uartTxMutex는 Comm_SendTelemetry_Safe() 내부에서 획득
        Comm_SendTelemetry_Safe();
    }
  /* USER CODE END StartTelemetryTask */
}

void NRF70_TestTask(void *argument)
{
  for(;;)
  {
    osDelay(1);
  }
}

/* USER CODE BEGIN Header_StartSensorProcessTask */
/**
* @brief Function implementing the SensorPrcsTask thread.
* @param argument: Not used
* @note ISR에서 Raw 복사 후 이 Task에서 온도 변환/필터링 수행
*/
/* USER CODE END Header_StartSensorProcessTask */
__weak void StartSensorProcessTask(void *argument)
{
  /* USER CODE BEGIN StartSensorProcessTask */
  /* Infinite loop */
  for(;;)
  {
      // ADC 완료 세마포어 대기 (무한 대기)
      if (osSemaphoreAcquire(adcDataReadySemHandle, osWaitForever) == osOK)
      {
          // Task context에서 float 연산 수행 (~100μs)
          // - 온도 변환 (ADC raw → °C)
          // - 이상치 필터
          // - 이동평균 필터
          // - 센서 오류 검사
          Sensor_ProcessADC();
      }
  }
  /* USER CODE END StartSensorProcessTask */
}

/* USER CODE BEGIN Application */
/**
 * @brief UART 수신 바이트 처리 (명령 라인 조립)
 * @param byte 수신된 바이트
 */
static void ProcessReceivedByte(uint8_t byte)
{
    // 명령 종료 문자 감지 ('\r' 또는 '\n')
    if (byte == '\r' || byte == '\n')
    {
        if (cmd_rx_index > 0)
        {
            // Null terminator 추가
            cmd_rx_buffer[cmd_rx_index] = '\0';

            // 완성된 명령을 cmdQueue에 전송
            osMessageQueuePut(cmdQueueHandle, cmd_rx_buffer, 0, 0);

            // 버퍼 리셋
            cmd_rx_index = 0;
            memset(cmd_rx_buffer, 0, sizeof(cmd_rx_buffer));
        }
        return;
    }

    // 버퍼 오버플로우 방지
    if (cmd_rx_index >= (CMD_BUFFER_SIZE - 1))
    {
        cmd_rx_index = 0;
        memset(cmd_rx_buffer, 0, sizeof(cmd_rx_buffer));
        return;
    }

    // 문자 추가
    cmd_rx_buffer[cmd_rx_index++] = (char)byte;
}

/* ============================================================================
 * ISR에서 호출할 함수들 (main.c의 콜백에서 사용)
 * ============================================================================ */

/**
 * @brief UART 수신 완료 콜백에서 호출 (ISR Context)
 * @param byte 수신된 바이트
 */
void RTOS_UART_RxCallback(uint8_t byte)
{
    // ISR에서 큐에 바이트 전송 (CMSIS-RTOS v2 API)
    // 타임아웃 0 = ISR에서는 블로킹하지 않음
    osMessageQueuePut(uartRxQueueHandle, &byte, 0, 0);
}

/**
 * @brief ADC 변환 완료 콜백에서 호출 (ISR Context)
 * @note [수정됨] ISR 경량화 - Raw 복사만 수행, float 연산은 SensorProcessTask에서
 */
void RTOS_ADC_ConvCpltCallback(void)
{
    extern volatile uint16_t buf_adc1[];

    // ISR: Raw 값만 복사 (~5μs, float 연산 없음)
    Sensor_UpdateADC_ISR(buf_adc1);

    // 세마포어 릴리즈 (SensorProcessTask 깨움)
    osSemaphoreRelease(adcDataReadySemHandle);
}

/**
 * @brief FDCAN 수신 콜백에서 호출 (ISR Context)
 * @param rx_header FDCAN 헤더
 * @param rx_data 수신 데이터
 */
void RTOS_FDCAN_RxCallback(FDCAN_RxHeaderTypeDef *rx_header, uint8_t *rx_data)
{
    // 센서 데이터 업데이트 (ISR에서 직접 수행)
    Sensor_UpdateCAN(rx_header, rx_data);

    // ControlTask에 알림 (선택적)
    // osThreadFlagsSet(ControlTaskHandle, NOTIFY_CAN_RX);
}

/* USER CODE END Application */
